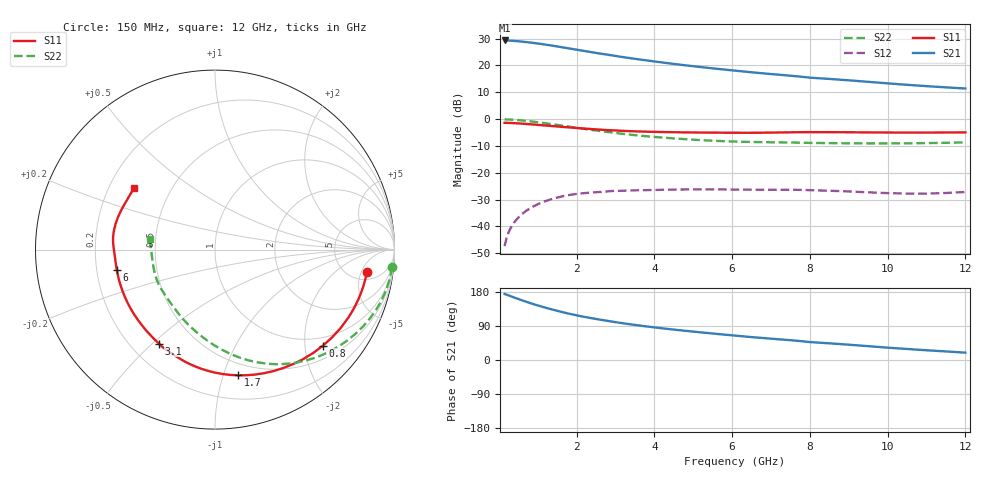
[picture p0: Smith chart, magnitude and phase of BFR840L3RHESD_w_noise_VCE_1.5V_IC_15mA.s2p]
! Infineon Technologies  Discrete & RF Semiconductors
! BFR840L3RHESD
! VCE =  1.5 V,  IC =  15 mA
! Common Emitter S-Parameters:  Jun 2012
# GHz  S  MA  R  50
!  f  S11  S21  S12  S22
! GHz  MAG  ANG  MAG  ANG  MAG  ANG  MAG  ANG
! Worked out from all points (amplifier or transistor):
!   91 points, 150 MHz to 12 GHz, reference 50 ohm
!   highest |S21| = 29.3 dB at 150 MHz (marker M1)
!   |S21| within 3 dB of that: start of sweep to 1.821 GHz
!   unconditionally stable (mu >= 1): 7.835 GHz to end of sweep
!   at 1.3 GHz: K = 0.16, MSG = 28.8 dB, |S12| = -30.1 dB
!   at 4.3 GHz: K = 0.51, MSG = 23.6 dB, |S12| = -26.3 dB
!   at 12 GHz: K = 1.89, MAG = 13.9 dB, |S12| = -27.2 dB
!   lowest NFmin = 0.91 dB at 450 MHz
!   S11 on the Smith chart (normalised r, x): 150 MHz: 6.91, -6.37; 800 MHz: 0.78, -2.39; 1.7 GHz: 0.39, -1.12; 3.1 GHz: 0.32, -0.53; 6 GHz: 0.29, -0.10; 12 GHz: 0.30, +0.31
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0.15  0.8556 -8.3  29.27 174.3  0.0043 88.6  0.9909 -5.7
0.25  0.8514 -13.8  29.11 170.5  0.0077 84.1  0.9856 -10.1
0.4  0.842 -21.8  28.66 164.8  0.012 77.0  0.9719 -16.2
0.6  0.8249 -32.1  27.83 157.4  0.0171 69.7  0.9452 -23.8
0.8  0.8047 -41.9  26.82 150.5  0.0217 64.4  0.9122 -31.0
1  0.7833 -51.2  25.69 144.1  0.0259 60.0  0.8761 -37.8
1.2  0.7619 -59.9  24.49 138.1  0.0297 55.9  0.8387 -44.3
1.5  0.7313 -72.2  22.64 129.9  0.0346 50.0  0.7824 -53.2
1.7  0.7119 -79.7  21.44 124.8  0.0373 46.3  0.7454 -58.7
2  0.6847 -90.3  19.71 117.9  0.0404 41.5  0.6922 -66.3
2.2  0.668 -96.7  18.63 113.8  0.0419 38.9  0.6592 -71.0
2.6  0.6382 -108.0  16.7 106.6  0.044 34.7  0.6012 -79.4
3.1  0.6097 -120.7  14.68 98.4  0.0461 30.1  0.5418 -88.9
3.7  0.5869 -133.3  12.72 89.9  0.0475 26.1  0.4878 -99.0
4.2  0.5761 -142.3  11.39 83.7  0.0483 23.6  0.4547 -106.6
5.1  0.564 -156.4  9.519 73.9  0.0491 20.0  0.4105 -119.6
6  0.5587 -168.1  8.122 65.1  0.0488 17.6  0.3839 -131.5
6.1  0.5584 -169.3  7.986 64.1  0.0488 17.3  0.382 -132.8
8  0.5731 169.6  5.929 47.3  0.0475 14.4  0.3611 -157.6
8.5  0.5722 165.6  5.622 44.0  0.0464 14.1  0.3577 -162.0
10.5  0.5628 150.2  4.367 29.1  0.041 19.8  0.355 -179.7
12  0.5675 142.6  3.727 19.4  0.0439 29.1  0.3691 171.0
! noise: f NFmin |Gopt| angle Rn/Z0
0.45  0.91  0.14  10  0.14
0.9  0.94  0.14  16  0.14
1.9  0.97  0.16  37  0.14
3.5  0.96  0.17  60  0.13
4  0.97  0.19  68  0.13
5.5  0.99  0.22  83  0.13
7  1.04  0.22  105  0.12
8  1.1  0.23  116  0.12
10  1.19  0.22  135  0.11
12  1.3  0.23  170  0.11
